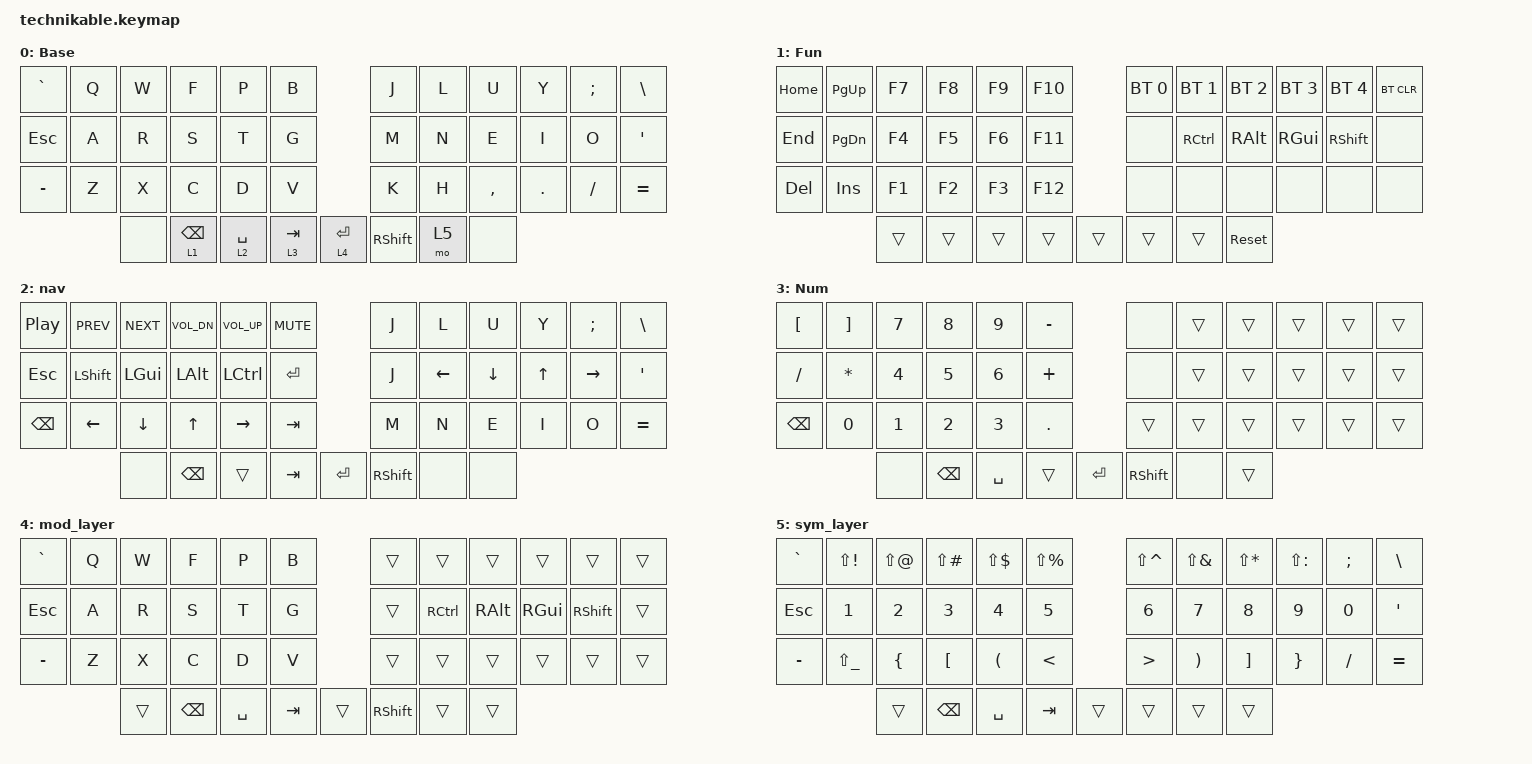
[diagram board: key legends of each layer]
/*
 * Copyright (c) 2022 Pete Johanson
 *
 * SPDX-License-Identifier: MIT
 */

#include <behaviors.dtsi>
#include <dt-bindings/zmk/bt.h>
#include <dt-bindings/zmk/keys.h>

#define BAS_L 0
#define NAV_L 1
#define NUM_L 2
#define SYM_L 3

// Using layer taps on thumbs, having quick tap as well helps w/ repeating space/backspace

&lt { quick_tap_ms = <200>; };

/ {
    chosen { zmk,matrix_transform = &ortho_transform; };

    conditional_layers { compatible = "zmk,conditional-layers"; };

    keymap {
        compatible = "zmk,keymap";

        base_layer {
            label = "Base";
            bindings = <
&kp GRAVE  &kp Q  &kp W  &kp F       &kp P        &kp B                   &kp J       &kp L  &kp U      &kp Y    &kp SEMICOLON  &kp BSLH
&kp ESC    &kp A  &kp R  &kp S       &kp T        &kp G                   &kp M       &kp N  &kp E      &kp I    &kp O          &kp SQT
&kp MINUS  &kp Z  &kp X  &kp C       &kp D        &kp V                   &kp K       &kp H  &kp COMMA  &kp DOT  &kp FSLH       &kp EQUAL
                  &none  &lt 1 BSPC  &lt 2 SPACE  &lt 3 TAB  &lt 4 ENTER  &kp RSHIFT  &mo 5  &none
            >;
        };

        f_layer {
            label = "Fun";
            bindings = <
&kp HOME    &kp PG_UP  &kp F7  &kp F8  &kp F9  &kp F10          &bt BT_SEL 0    &bt BT_SEL 1    &bt BT_SEL 2    &bt BT_SEL 3    &bt BT_SEL 4    &bt BT_CLR
&kp END     &kp PG_DN  &kp F4  &kp F5  &kp F6  &kp F11          &none           &kp RCTRL       &kp RALT        &kp RGUI        &kp RSHFT       &none
&kp DELETE  &kp INS    &kp F1  &kp F2  &kp F3  &kp F12          &none           &none           &none           &none           &none           &none
                       &trans  &trans  &trans  &trans   &trans  &trans          &trans          &sys_reset
            >;
        };

        nav_layer {
            label = "nav";
            bindings = <
&kp C_PLAY_PAUSE  &kp C_PREV  &kp C_NEXT  &kp C_VOL_DN  &kp C_VOLUME_UP  &kp C_MUTE           &kp J      &kp L     &kp U     &kp Y   &kp SEMI   &kp BSLH
&kp ESC           &kp LSHFT   &kp LGUI    &kp LALT      &kp LCTRL        &kp RET              &kp J      &kp LEFT  &kp DOWN  &kp UP  &kp RIGHT  &kp SQT
&kp BSPC          &kp LEFT    &kp DOWN    &kp UP        &kp RIGHT        &kp TAB              &kp M      &kp N     &kp E     &kp I   &kp O      &kp EQUAL
                              &none       &kp BSPC      &trans           &kp TAB     &kp RET  &kp RSHFT  &none     &none
            >;
        };

        num_layer {
            label = "Num";
            bindings = <
&kp LEFT_BRACKET  &kp RIGHT_BRACKET  &kp N7  &kp N8    &kp N9     &kp MINUS            &none      &trans  &trans  &trans  &trans  &trans
&kp SLASH         &kp ASTERISK       &kp N4  &kp N5    &kp N6     &kp PLUS             &none      &trans  &trans  &trans  &trans  &trans
&kp BSPC          &kp N0             &kp N1  &kp N2    &kp N3     &kp PERIOD           &trans     &trans  &trans  &trans  &trans  &trans
                                     &none   &kp BSPC  &kp SPACE  &trans      &kp RET  &kp RSHFT  &none   &trans
            >;
        };

        mod_layer {
            bindings = <
&kp GRAVE  &kp Q  &kp W   &kp F     &kp P      &kp B            &trans     &trans     &trans    &trans    &trans     &trans
&kp ESC    &kp A  &kp R   &kp S     &kp T      &kp G            &trans     &kp RCTRL  &kp RALT  &kp RGUI  &kp RSHFT  &trans
&kp MINUS  &kp Z  &kp X   &kp C     &kp D      &kp V            &trans     &trans     &trans    &trans    &trans     &trans
                  &trans  &kp BSPC  &kp SPACE  &kp TAB  &trans  &kp RSHFT  &trans     &trans
            >;
        };

        sym_layer {
            bindings = <
&kp GRAVE  &kp LS(EXCL)   &kp LS(AT)    &kp LS(POUND)  &kp LS(DLLR)  &kp LS(PRCNT)  &kp LS(CARET)  &kp LS(AMPS)  &kp LS(STAR)  &kp LS(COLON)    &kp SEMI    &kp BSLH
&kp ESC    &kp N1         &kp N2        &kp N3         &kp N4        &kp N5         &kp N6         &kp N7        &kp N8        &kp N9           &kp N0      &kp SQT
&kp MINUS  &kp LS(UNDER)  &kp LBRC      &kp LBKT       &kp LPAR      &kp LT         &kp GT         &kp RPAR      &kp RBKT      &kp RBRC         &kp FSLH    &kp EQUAL
                          &trans        &kp BSPC       &kp SPACE     &kp TAB        &trans         &trans        &trans        &trans
            >;
        };
    };
};
